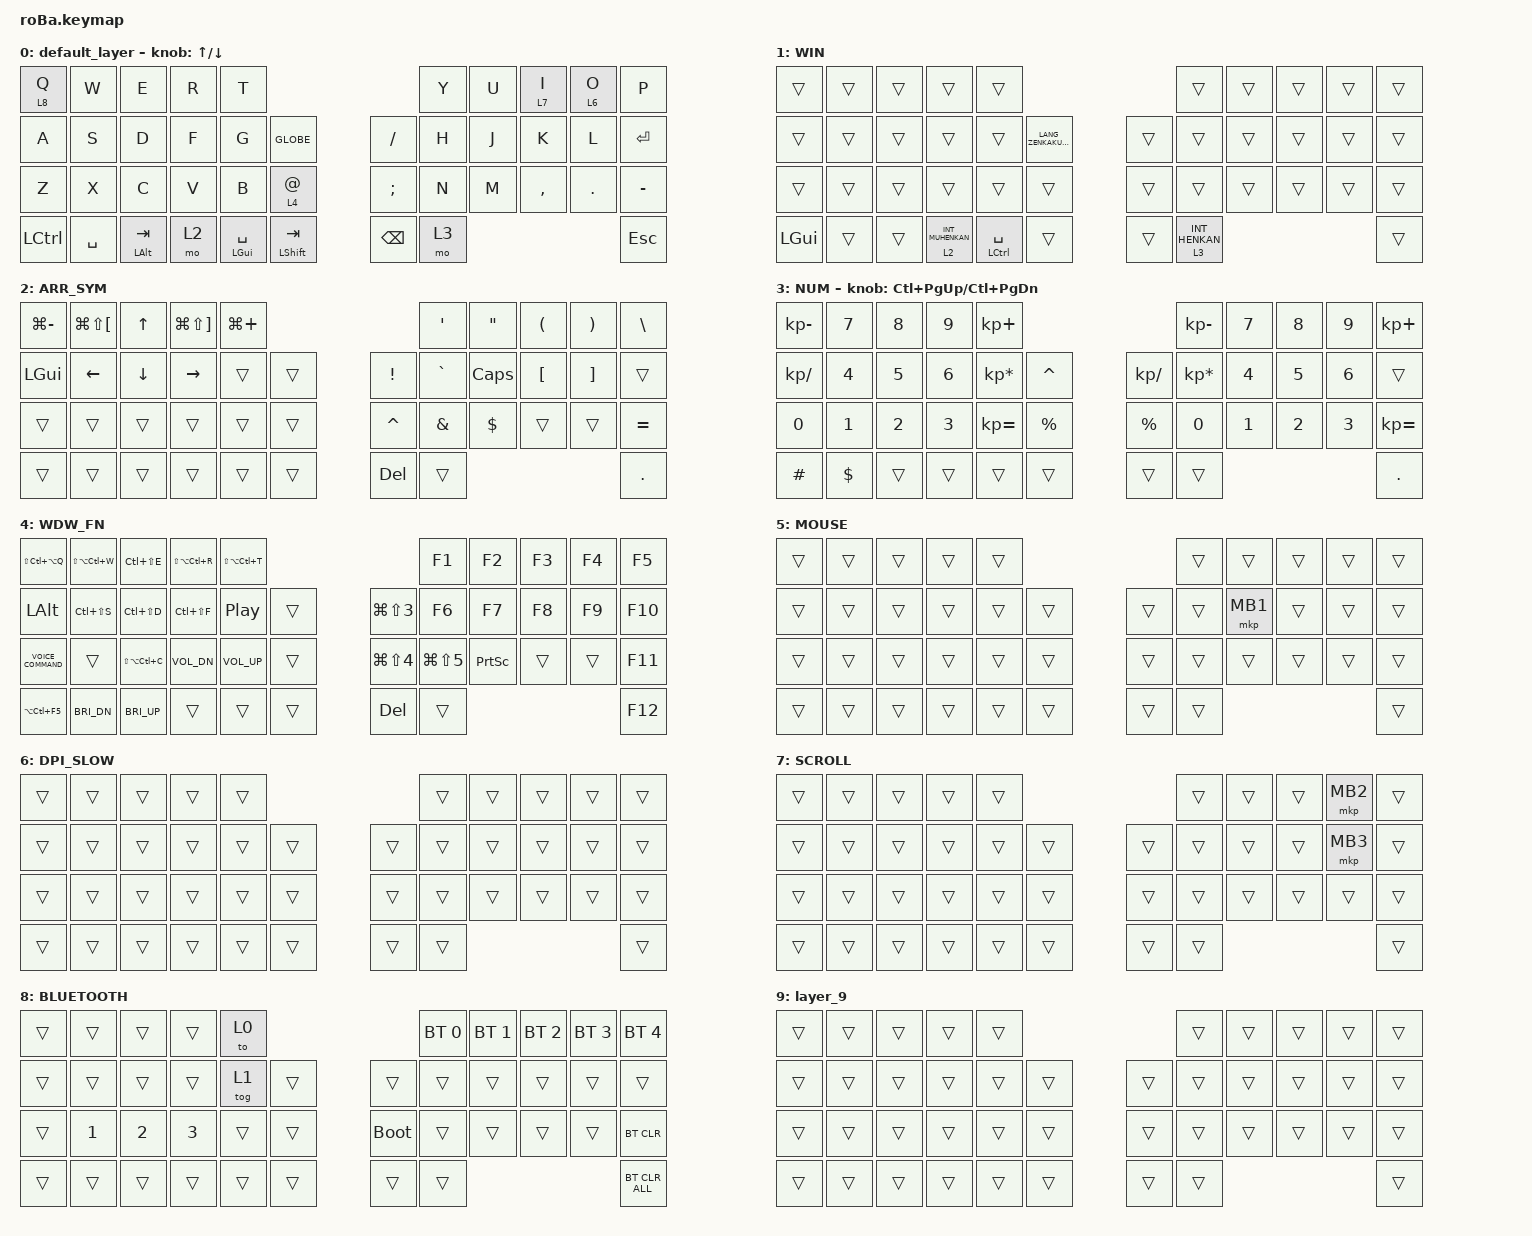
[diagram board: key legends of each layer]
#include <input/processors.dtsi>
#include <behaviors.dtsi>
#include <dt-bindings/zmk/bt.h>
#include <dt-bindings/zmk/keys.h>
#include <dt-bindings/zmk/pointing.h>

&mt {
    flavor = "balanced";
    quick-tap-ms = <0>;
};

&trackball {
    // automouse-layer = <5>;

    scroll-layers = <7>;

    // arrows {
    //     layers = <3>;
    //     bindings =
    //         <&kp RIGHT_ARROW>,
    //         <&kp LEFT_ARROW>,
    //         <&kp UP_ARROW>,
    //         <&kp DOWN_ARROW>;
    //     tick = <10>;
    //     wait-ms = <5>;
    //     tap-ms = <5>;
    // };
};

&mkp_input_listener { input-processors = <&zip_temp_layer 5 10000>; };

/ {
    trackball_dpi_listener {
        compatible = "zmk,input-listener";
        device = <&trackball>;

        dpi_slow {
            layers = <6>;
            input-processors = <&zip_xy_scaler 1 32>;
        };
    };

    combos {
        compatible = "zmk,combos";

        to_layer_slow {
            bindings = <&lt 6 RIGHT_CONTROL>;
            key-positions = <7 8>;
        };

        mac_eng {
            bindings = <&to_layer_0 LANG2>;
            key-positions = <11 12>;
        };

        mac_jpn {
            bindings = <&to_layer_0 LANG1>;
            key-positions = <19 20>;
        };
    };

    macros {
        to_layer_0: to_layer_0 {
            compatible = "zmk,behavior-macro-one-param";
            #binding-cells = <1>;
            bindings = <&to 0 &macro_param_1to1 &kp MACRO_PLACEHOLDER>;
            label = "TO_LAYER_0";
        };
    };

    behaviors {
        lt_to_layer_0: lt_to_layer_0 {
            compatible = "zmk,behavior-hold-tap";
            label = "LAYER_TAP_TO_0";
            bindings = <&mo>, <&to_layer_0>;

            #binding-cells = <2>;
            tapping-term-ms = <200>;
        };
    };

    keymap {
        compatible = "zmk,keymap";

        default_layer {
            bindings = <
&lt 8 Q    &kp W      &kp E             &kp R  &kp T                                                      &kp Y  &kp U  &lt 7 I    &lt 6 O  &kp P
&kp A      &kp S      &kp D             &kp F  &kp G               &kp GLOBE               &kp SLASH      &kp H  &kp J  &kp K      &kp L    &kp ENTER
&kp Z      &kp X      &kp C             &kp V  &kp B               &lt 4 AT                &kp SEMI       &kp N  &kp M  &kp COMMA  &kp DOT  &kp MINUS
&kp LCTRL  &kp SPACE  &mt LEFT_ALT TAB  &mo 2  &mt LEFT_GUI SPACE  &mt LEFT_SHIFT TAB      &kp BACKSPACE  &mo 3                             &kp ESCAPE
            >;

            sensor-bindings = <&inc_dec_kp UP DOWN>;
        };

        WIN {
            bindings = <
&trans        &trans  &trans  &trans              &trans                                                       &trans            &trans  &trans  &trans  &trans
&trans        &trans  &trans  &trans              &trans                  &kp LANG_ZENKAKUHANKAKU      &trans  &trans            &trans  &trans  &trans  &trans
&trans        &trans  &trans  &trans              &trans                  &trans                       &trans  &trans            &trans  &trans  &trans  &trans
&kp LEFT_GUI  &trans  &trans  &lt 2 INT_MUHENKAN  &mt LEFT_CONTROL SPACE  &trans                       &trans  &lt 3 INT_HENKAN                          &trans
            >;
        };

        ARR_SYM {
            bindings = <
&kp LG(MINUS)  &kp LG(LS(LEFT_BRACKET))  &kp UP_ARROW  &kp LG(LS(RIGHT_BRACKET))  &kp LG(PLUS)                         &kp APOS       &kp DOUBLE_QUOTES  &kp LEFT_PARENTHESIS  &kp RIGHT_PARENTHESIS  &kp BACKSLASH
&kp LEFT_GUI   &kp LEFT_ARROW            &kp DOWN      &kp RIGHT_ARROW            &trans        &trans      &kp EXCL   &kp GRAVE      &kp CAPS           &kp LBKT              &kp RIGHT_BRACKET      &trans
&trans         &trans                    &trans        &trans                     &trans        &trans      &kp CARET  &kp AMPERSAND  &kp DOLLAR         &trans                &trans                 &kp EQUAL
&trans         &trans                    &trans        &trans                     &trans        &trans      &kp DEL    &trans                                                                         &kp DOT
            >;
        };

        NUM {
            bindings = <
&kp KP_MINUS   &kp NUMBER_7  &kp NUMBER_8  &kp NUMBER_9  &kp KP_PLUS                                      &kp KP_SUBTRACT  &kp N7  &kp N8  &kp N9  &kp KP_PLUS
&kp KP_DIVIDE  &kp NUMBER_4  &kp NUMBER_5  &kp NUMBER_6  &kp KP_MULTIPLY  &kp CARET        &kp KP_DIVIDE  &kp KP_MULTIPLY  &kp N4  &kp N5  &kp N6  &trans
&kp NUMBER_0   &kp NUMBER_1  &kp NUMBER_2  &kp NUMBER_3  &kp KP_EQUAL     &kp PERCENT      &kp PERCENT    &kp N0           &kp N1  &kp N2  &kp N3  &kp KP_EQUAL
&kp HASH       &kp DOLLAR    &trans        &trans        &trans           &trans           &trans         &trans                                   &kp DOT
            >;

            sensor-bindings = <&inc_dec_kp LC(PAGE_UP) LC(PAGE_DOWN)>;
        };

        WDW_FN {
            bindings = <
&kp LS(LC(LA(Q)))    &kp LS(LA(LC(W)))  &kp LC(LS(E))      &kp LS(LA(LC(R)))  &kp LS(LA(LC(T)))                              &kp F1          &kp F2           &kp F3  &kp F4  &kp F5
&kp LEFT_ALT         &kp LC(LS(S))      &kp LC(LS(D))      &kp LC(LS(F))      &kp C_PLAY_PAUSE   &trans      &kp LG(LS(N3))  &kp F6          &kp F7           &kp F8  &kp F9  &kp F10
&kp C_VOICE_COMMAND  &trans             &kp LS(LA(LC(C)))  &kp C_VOL_DN       &kp C_VOL_UP       &trans      &kp LG(LS(N4))  &kp LG(LS(N5))  &kp PRINTSCREEN  &trans  &trans  &kp F11
&kp LA(LC(F5))       &kp C_BRI_DN       &kp C_BRI_UP       &trans             &trans             &trans      &kp DEL         &trans                                           &kp F12
            >;
        };

        MOUSE {
            bindings = <
&trans  &trans  &trans  &trans  &trans                      &trans  &trans    &trans  &trans  &trans
&trans  &trans  &trans  &trans  &trans  &trans      &trans  &trans  &mkp MB1  &trans  &trans  &trans
&trans  &trans  &trans  &trans  &trans  &trans      &trans  &trans  &trans    &trans  &trans  &trans
&trans  &trans  &trans  &trans  &trans  &trans      &trans  &trans                            &trans
            >;
        };

        DPI_SLOW {
            bindings = <
&trans  &trans  &trans  &trans  &trans                      &trans  &trans  &trans  &trans  &trans
&trans  &trans  &trans  &trans  &trans  &trans      &trans  &trans  &trans  &trans  &trans  &trans
&trans  &trans  &trans  &trans  &trans  &trans      &trans  &trans  &trans  &trans  &trans  &trans
&trans  &trans  &trans  &trans  &trans  &trans      &trans  &trans                          &trans
            >;
        };

        SCROLL {
            bindings = <
&trans  &trans  &trans  &trans  &trans                      &trans  &trans  &trans  &mkp MB2  &trans
&trans  &trans  &trans  &trans  &trans  &trans      &trans  &trans  &trans  &trans  &mkp MB3  &trans
&trans  &trans  &trans  &trans  &trans  &trans      &trans  &trans  &trans  &trans  &trans    &trans
&trans  &trans  &trans  &trans  &trans  &trans      &trans  &trans                            &trans
            >;
        };

        BLUETOOTH {
            bindings = <
&trans  &trans        &trans        &trans        &to 0                            &bt BT_SEL 0  &bt BT_SEL 1  &bt BT_SEL 2  &bt BT_SEL 3  &bt BT_SEL 4
&trans  &trans        &trans        &trans        &tog 1  &trans      &trans       &trans        &trans        &trans        &trans        &trans
&trans  &kp NUMBER_1  &kp NUMBER_2  &kp NUMBER_3  &trans  &trans      &bootloader  &trans        &trans        &trans        &trans        &bt BT_CLR
&trans  &trans        &trans        &trans        &trans  &trans      &trans       &trans                                                  &bt BT_CLR_ALL
            >;
        };

        layer_9 {
            bindings = <
&trans  &trans  &trans  &trans  &trans                      &trans  &trans  &trans  &trans  &trans
&trans  &trans  &trans  &trans  &trans  &trans      &trans  &trans  &trans  &trans  &trans  &trans
&trans  &trans  &trans  &trans  &trans  &trans      &trans  &trans  &trans  &trans  &trans  &trans
&trans  &trans  &trans  &trans  &trans  &trans      &trans  &trans                          &trans
            >;
        };
    };
};
